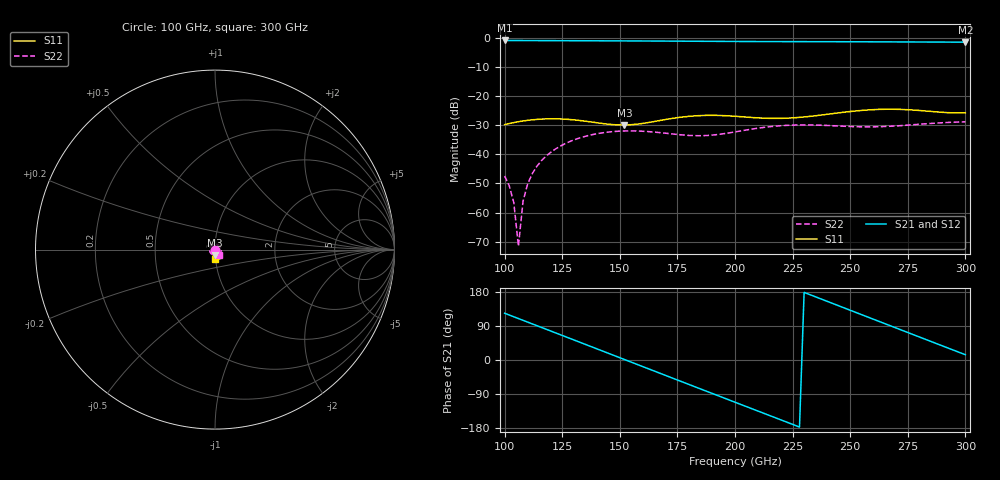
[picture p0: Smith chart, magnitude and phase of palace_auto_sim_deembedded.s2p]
! Created with skrf 1.11.0 (http://scikit-rf.org).
# GHz S DB R 50.0
!freq dBS11 angS11 dBS21 angS21 dBS12 angS12 dBS22 angS22
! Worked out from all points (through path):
!   101 points, 100 GHz to 300 GHz, reference 50 ohm
!   highest |S21| = -0.92 dB at 100 GHz (marker M1); lowest = -1.5 dB at 300 GHz (marker M2)
!   group delay of S21, straight-line fit = 6.52 ps
!   lowest |S11| = -29.9 dB at 152 GHz (marker M3), VSWR 1.07, Z = 49.9 - j3.18 ohm
!   |S11| at or under -10 dB: start of sweep to end of sweep
!   |S22| runs from -71.6 to -28.9 dB; largest |S21 - S12| = 1.6e-13
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100  -29.83 -66.5  -0.92 123.4  -0.92 123.4  -47.45 -129.5
102  -29.45 -68.2  -0.93 118.7  -0.93 118.7  -50.79 -135.8
104  -29.11 -70.0  -0.93 114.0  -0.93 114.0  -56.62 -145.5
106  -28.82 -71.8  -0.94 109.4  -0.94 109.4  -71.55 124.3
108  -28.56 -73.8  -0.95 104.7  -0.95 104.7  -56.10 44.7
110  -28.34 -75.8  -0.96 100.0  -0.96 100.0  -50.17 35.0
112  -28.17 -77.9  -0.96 95.3  -0.96 95.3  -46.64 28.3
120  -27.82 -86.1  -0.98 76.6  -0.98 76.6  -39.33 6.0
134  -28.53 -96.6  -1.02 43.7  -1.02 43.7  -34.06 -32.6
144  -29.58 -96.3  -1.05 20.2  -1.05 20.2  -32.47 -62.3
152  -29.94 -90.5  -1.07 1.4  -1.07 1.4  -32.00 -88.0
168  -28.32 -81.8  -1.13 -36.3  -1.13 -36.3  -32.61 -148.3
184  -26.75 -88.1  -1.20 -73.9  -1.20 -73.9  -33.63 133.8
200  -26.95 -95.5  -1.26 -111.4  -1.26 -111.4  -32.32 49.5
218  -27.68 -91.4  -1.31 -153.5  -1.31 -153.5  -30.31 -32.8
234  -26.86 -84.0  -1.33 169.0  -1.33 169.0  -29.95 -102.7
242  -26.08 -82.8  -1.34 150.1  -1.34 150.1  -30.18 -139.2
252  -25.16 -84.5  -1.37 126.6  -1.37 126.6  -30.51 172.6
268  -24.53 -91.5  -1.41 89.0  -1.41 89.0  -30.35 92.4
282  -25.09 -95.4  -1.45 56.1  -1.45 56.1  -29.58 25.1
292  -25.69 -92.9  -1.48 32.6  -1.48 32.6  -29.09 -20.7
300  -25.77 -87.8  -1.50 13.9  -1.50 13.9  -28.85 -56.8
